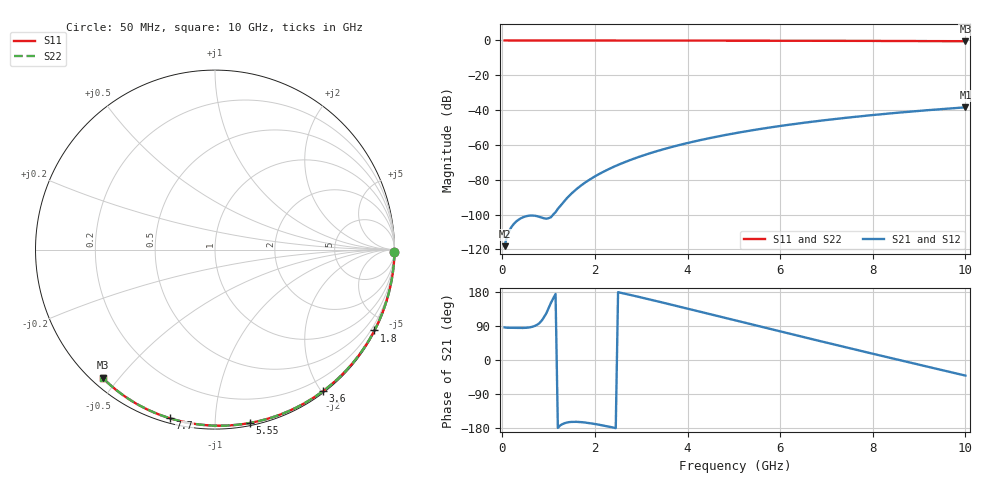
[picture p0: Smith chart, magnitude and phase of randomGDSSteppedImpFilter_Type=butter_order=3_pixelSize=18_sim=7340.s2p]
! freq	dB(S11)	phase(S11)	dB(S12)	phase(S12)
!  dB(S21)	phase(S21)	dB(S22)	phase(S22)
!S-par simulation data
#  GHz  S  DB  R 50
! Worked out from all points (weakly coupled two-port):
!   200 points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, 50 MHz to 10 GHz, reference 50 ohm
!   highest |S21| = -38.42 dB at 10 GHz (marker M1); lowest = -118.2 dB at 50 MHz (marker M2)
!   lowest |S11| = -0.4 dB at 10 GHz (marker M3), VSWR 39.05, Z = 1.54 - j22.6 ohm
!   |S11| at or under -10 dB: nowhere
!   |S22| runs from -0.4 to 0.0 dB; largest |S21 - S12| = 0
!   S11 on the Smith chart (normalised r, x): 50 MHz: open; 1.8 GHz: 0.04, -4.18; 3.6 GHz: 0.02, -2.02; 5.55 GHz: 0.02, -1.22; 7.7 GHz: 0.02, -0.77; 10 GHz: 0.03, -0.45
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0.05  -0.00 -0.8  -118.15 86.0  -118.15 86.0  -0.00 -0.8
0.9  -0.02 -13.6  -102.14 112.8  -102.14 112.8  -0.02 -13.5
1.75  -0.03 -26.2  -82.35 -164.5  -82.35 -164.5  -0.03 -26.1
1.8  -0.03 -26.9  -81.42 -165.2  -81.42 -165.2  -0.03 -26.8
1.85  -0.04 -27.6  -80.53 -166.0  -80.53 -166.0  -0.04 -27.6
1.9  -0.04 -28.4  -79.68 -166.9  -79.68 -166.9  -0.04 -28.3
2.05  -0.04 -30.6  -77.31 -169.9  -77.31 -169.9  -0.04 -30.5
2.25  -0.04 -33.5  -74.52 -174.6  -74.52 -174.6  -0.04 -33.4
2.45  -0.05 -36.4  -72.05 -179.7  -72.05 -179.7  -0.05 -36.3
2.65  -0.05 -39.2  -69.83 174.9  -69.83 174.9  -0.05 -39.1
3  -0.06 -44.2  -66.42 165.0  -66.42 165.0  -0.06 -44.1
3.4  -0.07 -49.8  -63.09 153.4  -63.09 153.4  -0.07 -49.7
3.6  -0.07 -52.6  -61.60 147.5  -61.60 147.5  -0.07 -52.5
4.3  -0.09 -62.2  -57.09 126.6  -57.09 126.6  -0.09 -62.0
5.05  -0.11 -72.1  -53.16 104.0  -53.16 104.0  -0.11 -72.0
5.55  -0.13 -78.6  -50.93 89.0  -50.93 89.0  -0.13 -78.4
6.1  -0.15 -85.5  -48.75 72.5  -48.75 72.5  -0.15 -85.4
6.7  -0.18 -92.9  -46.64 54.7  -46.64 54.7  -0.18 -92.8
7.7  -0.24 -104.9  -43.64 25.3  -43.64 25.3  -0.24 -104.7
8.35  -0.29 -112.5  -41.96 6.4  -41.96 6.4  -0.29 -112.3
9.15  -0.36 -121.7  -40.13 -16.7  -40.13 -16.7  -0.36 -121.5
10  -0.44 -131.3  -38.42 -41.1  -38.42 -41.1  -0.44 -131.0
